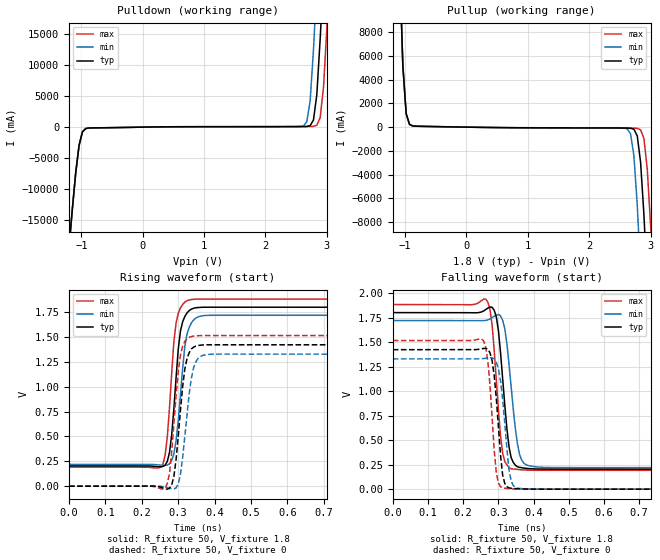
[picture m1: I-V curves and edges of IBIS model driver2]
| IBIS file inv_chain_20ps.ibs created by PYS2IBIS3
| Missouri S&T EMC Lab
[IBIS Ver] 7.1
[File Name] inv_chain_20ps.ibs
[File Rev] 1.0
[Date] Jul 27, 2026
[Source] Eight-stage inv_chain transistor model characterized with s2ibispy
[Notes] Edge-rate sweep; tr=tf=20ps. All other settings match
 inv_chain_fast_5ps.
[Component] invchain
[Manufacturer] s2ibispy study
[Package]
| variable   typ   min   max
R_pkg 0 NA NA
L_pkg 0H NA NA
C_pkg 0F NA NA
[Pin]  signal_name   model_name   R_pin   L_pin   C_pin
VSSQ   VSSQ   Gnd
VCCQ   VCCQ   Power
| IN IN dummy
PAD   PAD   driver2
| End of Component
| Models and submodels in the file (1): driver2 (Output)
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[Model] driver2
Model_type Output
Polarity Non-Inverting
Enable Active-High
Vinl  = 0.8V
Vinh  = 2V
C_comp 0.4680pF NA NA
[Temperature Range] 27.0000 27.0000 27.0000
[Voltage Range] 1.8000V 1.7000V 1.9000V
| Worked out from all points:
|   slope of the pulldown table from 0 to 0.27 V, typ, clamps not added: 6.79 ohm
|   slope of the pullup table from 0 to 0.27 V, typ, clamps not added: 12.6 ohm
|   rising waveform, R_fixture 50, V_fixture 1.8: 20-80 % time 21.3ps typ, 22.9ps min, 20.2ps max; typ from 0.204 V to 1.8 V
|   rising waveform, R_fixture 50, V_fixture 0: 20-80 % time 22.2ps typ, 23.8ps min, 21.4ps max; typ from 0 V to 1.42 V
|   falling waveform, R_fixture 50, V_fixture 1.8: 20-80 % time 23.5ps typ, 25.9ps min, 21.4ps max; typ from 1.8 V to 0.204 V
|   falling waveform, R_fixture 50, V_fixture 0: 20-80 % time 19.3ps typ, 20.8ps min, 18.2ps max; typ from 1.42 V to 0 V
[Pulldown]
| Voltage   I(typ)   I(min)   I(max)
-1.8V     -87.88A    -87.88A    -87.88A
-1.2V     -19.4A     -19.4A     -19.4A
-1.036V   -2.952A    -2.948A    -2.955A
-927.3mV  -221.8mA   -216.4mA   -227mA
2.618V    95.77mA    193.1mA    97.15mA
2.727V    244.8mA    4.224A     106.4mA
2.782V    1.151A     12.49A     132.5mA
2.836V    5.27A      23.04A     313.7mA
2.891V    14.25A     33.59A     1.533A
2.946V    24.81A     44.15A     6.464A
3V        35.36A     54.71A     16.02A
3.6V      151.5A     170.8A     132.1A
[Pullup]
| Voltage   I(typ)   I(min)   I(max)
-1.8V     151.4A     151.4A     151.4A
-1.091V   14.2A      14.19A     14.2A
-981.8mV  1.13A      1.129A     1.132A
-872.7mV  99.18mA    97.54mA    100.6mA
2.618V    -78.19mA   -142.5mA   -79.21mA
2.727V    -177.2mA   -2.408A    -86.52mA
2.782V    -728.3mA   -6.523A    -104.6mA
2.836V    -2.952A    -12.18A    -222.3mA
2.891V    -7.391A    -18.4A     -950.7mA
2.946V    -13.22A    -24.62A    -3.561A
3V        -19.44A    -30.85A    -8.297A
3.6V      -87.92A    -99.33A    -76.52A
[Ramp]
| variable   typ   min   max
dV/dt_r 0.8532/0.02164n 0.7968/0.02336n 0.9090/0.0206n
dV/dt_f 0.9575/0.02299n 0.8972/0.02483n 1.0171/0.02136n
R_load = 50
[Rising Waveform]
R_fixture = 50
V_fixture = 1.8
|time   V(typ)   V(min)   V(max)
0s        204.2mV    219.5mV    192.2mV
252.3ps   195.4mV    211.6mV    193.3mV
264.3ps   211.3mV    210.4mV    315.7mV
276.3ps   342.7mV    225.5mV    795.1mV
288.3ps   781.9mV    326.3mV    1.456V
294.3ps   1.092V     458.8mV    1.643V
306.3ps   1.561V     915.2mV    1.793V
318.3ps   1.707V     1.405V     1.852V
342.3ps   1.789V     1.671V     1.88V
6ns       1.8V       1.719V     1.882V
[Rising Waveform]
R_fixture = 50
V_fixture = 0
|time   V(typ)   V(min)   V(max)
0s        13.08nV    12.76nV    13.48nV
264.3ps   -26.39mV   -7.619mV   -17.75mV
276.3ps   -20.09mV   -21.47mV   132.7mV
288.3ps   99.69mV    -28.21mV   628mV
306.3ps   765.2mV    118.7mV    1.317V
324.3ps   1.284V     724.4mV    1.483V
336.3ps   1.38V      1.087V     1.504V
348.3ps   1.408V     1.247V     1.512V
408.4ps   1.422V     1.329V     1.515V
6ns       1.422V     1.328V     1.515V
[Falling Waveform]
R_fixture = 50
V_fixture = 1.8
|time   V(typ)   V(min)   V(max)
0s        1.8V       1.719V     1.882V
264.3ps   1.831V     1.72V      1.938V
282.3ps   1.854V     1.748V     1.675V
294.3ps   1.756V     1.776V     1.105V
312.3ps   1.123V     1.72V      366.3mV
330.3ps   433.2mV    1.274V     219.5mV
348.3ps   244.6mV    617.9mV    203.2mV
360.4ps   222.4mV    352.7mV    198.8mV
462.5ps   204.2mV    219.8mV    192.1mV
6ns       204.2mV    219.5mV    192.2mV
[Falling Waveform]
R_fixture = 50
V_fixture = 0
|time   V(typ)   V(min)   V(max)
0s        1.422V     1.328V     1.515V
258.3ps   1.435V     1.332V     1.511V
270.3ps   1.427V     1.337V     1.302V
282.3ps   1.31V      1.339V     731.2mV
294.3ps   922.9mV    1.295V     162.7mV
312.3ps   142.8mV    912.6mV    13.66mV
330.3ps   13.42mV    197.1mV    5.238mV
348.3ps   5.119mV    16.82mV    2.094mV
414.4ps   146.5uV    547.6uV    28.6uV
6ns       13.26nV    12.9nV     13.49nV
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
